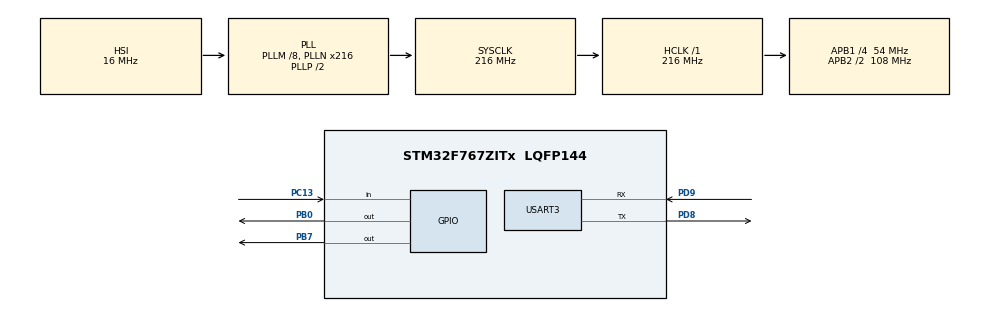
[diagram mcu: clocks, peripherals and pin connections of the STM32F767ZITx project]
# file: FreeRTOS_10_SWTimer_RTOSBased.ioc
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FREERTOS.INCLUDE_vTaskDelayUntil=1
FREERTOS.Tasks01=normalTask_uart,0,128,start_normalTask_uart,Default,NULL,Dynamic,NULL,NULL;normalTask_led,0,128,start_normalTask_led,Default,NULL,Dynamic,NULL,NULL
FREERTOS.Timers01=periodicTimer,callback_periodicTimer,osTimerPeriodic,Default,NULL,Dynamic,NULL;onceTimer,callback_onceTimer,osTimerOnce,Default,NULL,Dynamic,NULL
FREERTOS.configTIMER_TASK_PRIORITY=6
FREERTOS.configUSE_COUNTING_SEMAPHORES=0
FREERTOS.configUSE_NEWLIB_REENTRANT=1
FREERTOS.configUSE_TIMERS=1
Mcu.Family=STM32F7
Mcu.Name=STM32F767ZITx
Mcu.Package=LQFP144
NVIC.PriorityGroup=NVIC_PRIORITYGROUP_4
NVIC.TIM6_DAC_IRQn=true\:15\:0\:false\:false\:true\:false\:false\:true\:true
NVIC.TimeBase=TIM6_DAC_IRQn
NVIC.TimeBaseIP=TIM6
NVIC.USART3_IRQn=true\:5\:0\:false\:false\:true\:true\:true\:true\:true
PA13.Mode=Serial_Wire
PA13.Signal=SYS_JTMS-SWDIO
PA14.Mode=Serial_Wire
PA14.Signal=SYS_JTCK-SWCLK
PB0.Signal=GPIO_Output
PB7.Signal=GPIO_Output
PC13.Signal=GPIO_Input
PD8.Mode=Asynchronous
PD8.Signal=USART3_TX
PD9.Mode=Asynchronous
PD9.Signal=USART3_RX
ProjectManager.HeapSize=0x200
ProjectManager.StackSize=0x400
ProjectManager.TargetToolchain=CMake
RCC.AHBFreq_Value=216000000
RCC.APB1CLKDivider=RCC_HCLK_DIV4
RCC.APB1Freq_Value=54000000
RCC.APB1TimFreq_Value=108000000
RCC.APB2CLKDivider=RCC_HCLK_DIV2
RCC.APB2Freq_Value=108000000
RCC.APB2TimFreq_Value=216000000
RCC.CortexFreq_Value=216000000
RCC.HCLKFreq_Value=216000000
RCC.HSE_VALUE=8000000
RCC.HSI_VALUE=16000000
RCC.LSE_VALUE=32768
RCC.PLLM=8
RCC.PLLN=216
RCC.SYSCLKFreq_VALUE=216000000
RCC.SYSCLKSource=RCC_SYSCLKSOURCE_PLLCLK
RCC.USBFreq_Value=216000000
RCC.VCOOutputFreq_Value=432000000
USART3.VirtualMode-Asynchronous=VM_ASYNC
VP_FREERTOS_VS_CMSIS_V1.Mode=CMSIS_V1
VP_SYS_VS_tim6.Mode=TIM6
board=custom

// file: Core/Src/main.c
/* USER CODE BEGIN Header */
/**
  ******************************************************************************
  * @file           : main.c
  * @brief          : Main program body
  ******************************************************************************
  * @author			: Jabed-Akhtar (GitHub)
  * @date			: 11.10.2022
  ******************************************************************************
  * Description:
  * 	- a source within this script: https://youtube.com/playlist?list=PLfIJKC1ud8gj1t2y36sabPT4YcKzmN_5D
  * 	- Related doc/file can be found at location: Same as FreeRTOS_9_SWTimer_CMSISBased Project
  *
  *
  * @attention
  * Very imp note:
  * 	- comment out #include "cmsis_os.h" , as it is not used
  * 	- comment or remote by-default created task related stuffs
  *
  ******************************************************************************
  */
/* USER CODE END Header */
#include "main.h"
//#include "cmsis_os.h"

/* USER CODE BEGIN Includes */

#include "FreeRTOS.h"
#include "task.h"
#include "timers.h"
#include "queue.h"
#include "semphr.h"
#include "event_groups.h"

#include <stdio.h>
#include "stdlib.h"
#include <string.h>

/* USER CODE END Includes */

UART_HandleTypeDef huart3;

//osThreadId normalTask_uartHandle;
//osThreadId normalTask_ledHandle;
//osTimerId periodicTimerHandle;
//osTimerId onceTimerHandle;
/* USER CODE BEGIN PV */

// Create timer handles
xTimerHandle PTHandle; // Periodic timer Handler
xTimerHandle OTHandle; // One-time timer Handler

// Create task handles
xTaskHandle uartTaskHandle;
xTaskHandle ledTaskHandle;

/* USER CODE END PV */

void SystemClock_Config(void);
static void MX_GPIO_Init(void);
static void MX_USART3_UART_Init(void);
//void start_normalTask_uart(void const * argument);
//void start_normalTask_led(void const * argument);
//void callback_periodicTimer(void const * argument);
//void callback_onceTimer(void const * argument);

/* USER CODE BEGIN PFP */

// Task functions
void uartTask(void *argument);
void ledTask(void *argument);
void TimerCallback(xTimerHandle xTimer);

/* USER CODE END PFP */

int main(void)
{

  /* MCU Configuration--------------------------------------------------------*/

  /* Reset of all peripherals, Initializes the Flash interface and the Systick. */
  HAL_Init();

  /* Configure the system clock */
  SystemClock_Config();

  /* Initialize all configured peripherals */
  MX_GPIO_Init();
  MX_USART3_UART_Init();
  /* USER CODE BEGIN 2 */

  // sending data through USART at the beginning of Programm
  char stri[] = "\n---------- Programm started!!! ----------\n\n\r";
  HAL_UART_Transmit(&huart3, (uint8_t*)stri, strlen(stri), HAL_MAX_DELAY); //HAL_MAX_DELAY -> 0xFFFFFFFFU

  // create timers
  PTHandle = xTimerCreate("timer1", pdMS_TO_TICKS(1000), pdTRUE, (void *) 1, TimerCallback);
  OTHandle = xTimerCreate("timer2", pdMS_TO_TICKS(4000), pdFALSE, (void *) 2, TimerCallback);

  // Create tasks
  xTaskCreate(uartTask, "uartTask", 128, NULL, 1, &uartTaskHandle);
  xTaskCreate(ledTask, "ledTask", 128, NULL, 1, &ledTaskHandle);

  // Start the Schedular
  vTaskStartScheduler();
  /* USER CODE END 2 */

  /* Create the timer(s) */
  /* definition and creation of periodicTimer */
//  osTimerDef(periodicTimer, callback_periodicTimer);
//  periodicTimerHandle = osTimerCreate(osTimer(periodicTimer), osTimerPeriodic, NULL);

  /* definition and creation of onceTimer */
//  osTimerDef(onceTimer, callback_onceTimer);
//  onceTimerHandle = osTimerCreate(osTimer(onceTimer), osTimerOnce, NULL);

  /* Create the thread(s) */
  /* definition and creation of normalTask_uart */
//  osThreadDef(normalTask_uart, start_normalTask_uart, osPriorityNormal, 0, 128);
//  normalTask_uartHandle = osThreadCreate(osThread(normalTask_uart), NULL);

  /* definition and creation of normalTask_led */
//  osThreadDef(normalTask_led, start_normalTask_led, osPriorityNormal, 0, 128);
//  normalTask_ledHandle = osThreadCreate(osThread(normalTask_led), NULL);

  /* Start scheduler */
//  osKernelStart();

  /* We should never get here as control is now taken by the scheduler */

  /* Infinite loop */
  while (1)
  {

  }
}

void SystemClock_Config(void)
{
  RCC_OscInitTypeDef RCC_OscInitStruct = {0};
  RCC_ClkInitTypeDef RCC_ClkInitStruct = {0};

  /** Configure the main internal regulator output voltage
  */
  __HAL_RCC_PWR_CLK_ENABLE();
  __HAL_PWR_VOLTAGESCALING_CONFIG(PWR_REGULATOR_VOLTAGE_SCALE1);

  /** Initializes the RCC Oscillators according to the specified parameters
  * in the RCC_OscInitTypeDef structure.
  */
  RCC_OscInitStruct.OscillatorType = RCC_OSCILLATORTYPE_HSI;
  RCC_OscInitStruct.HSIState = RCC_HSI_ON;
  RCC_OscInitStruct.HSICalibrationValue = RCC_HSICALIBRATION_DEFAULT;
  RCC_OscInitStruct.PLL.PLLState = RCC_PLL_ON;
  RCC_OscInitStruct.PLL.PLLSource = RCC_PLLSOURCE_HSI;
  RCC_OscInitStruct.PLL.PLLM = 8;
  RCC_OscInitStruct.PLL.PLLN = 216;
  RCC_OscInitStruct.PLL.PLLP = RCC_PLLP_DIV2;
  RCC_OscInitStruct.PLL.PLLQ = 2;
  RCC_OscInitStruct.PLL.PLLR = 2;
  if (HAL_RCC_OscConfig(&RCC_OscInitStruct) != HAL_OK)
  {
    Error_Handler();
  }

  /** Activate the Over-Drive mode
  */
  if (HAL_PWREx_EnableOverDrive() != HAL_OK)
  {
    Error_Handler();
  }

  /** Initializes the CPU, AHB and APB buses clocks
  */
  RCC_ClkInitStruct.ClockType = RCC_CLOCKTYPE_HCLK|RCC_CLOCKTYPE_SYSCLK
                              |RCC_CLOCKTYPE_PCLK1|RCC_CLOCKTYPE_PCLK2;
  RCC_ClkInitStruct.SYSCLKSource = RCC_SYSCLKSOURCE_PLLCLK;
  RCC_ClkInitStruct.AHBCLKDivider = RCC_SYSCLK_DIV1;
  RCC_ClkInitStruct.APB1CLKDivider = RCC_HCLK_DIV4;
  RCC_ClkInitStruct.APB2CLKDivider = RCC_HCLK_DIV2;

  if (HAL_RCC_ClockConfig(&RCC_ClkInitStruct, FLASH_LATENCY_7) != HAL_OK)
  {
    Error_Handler();
  }
}

static void MX_USART3_UART_Init(void)
{

  huart3.Instance = USART3;
  huart3.Init.BaudRate = 115200;
  huart3.Init.WordLength = UART_WORDLENGTH_8B;
  huart3.Init.StopBits = UART_STOPBITS_1;
  huart3.Init.Parity = UART_PARITY_NONE;
  huart3.Init.Mode = UART_MODE_TX_RX;
  huart3.Init.HwFlowCtl = UART_HWCONTROL_NONE;
  huart3.Init.OverSampling = UART_OVERSAMPLING_16;
  huart3.Init.OneBitSampling = UART_ONE_BIT_SAMPLE_DISABLE;
  huart3.AdvancedInit.AdvFeatureInit = UART_ADVFEATURE_NO_INIT;
  if (HAL_UART_Init(&huart3) != HAL_OK)
  {
    Error_Handler();
  }

}

static void MX_GPIO_Init(void)
{
  GPIO_InitTypeDef GPIO_InitStruct = {0};

  /* GPIO Ports Clock Enable */
  __HAL_RCC_GPIOC_CLK_ENABLE();
  __HAL_RCC_GPIOB_CLK_ENABLE();
  __HAL_RCC_GPIOD_CLK_ENABLE();
  __HAL_RCC_GPIOA_CLK_ENABLE();

  /*Configure GPIO pin Output Level */
  HAL_GPIO_WritePin(GPIOB, GPIO_PIN_0|GPIO_PIN_7, GPIO_PIN_RESET);

  /*Configure GPIO pin : PC13 */
  GPIO_InitStruct.Pin = GPIO_PIN_13;
  GPIO_InitStruct.Mode = GPIO_MODE_INPUT;
  GPIO_InitStruct.Pull = GPIO_NOPULL;
  HAL_GPIO_Init(GPIOC, &GPIO_InitStruct);

  /*Configure GPIO pins : PB0 PB7 */
  GPIO_InitStruct.Pin = GPIO_PIN_0|GPIO_PIN_7;
  GPIO_InitStruct.Mode = GPIO_MODE_OUTPUT_PP;
  GPIO_InitStruct.Pull = GPIO_NOPULL;
  GPIO_InitStruct.Speed = GPIO_SPEED_FREQ_LOW;
  HAL_GPIO_Init(GPIOB, &GPIO_InitStruct);

}

/* USER CODE BEGIN 4 */

// UART Task
void uartTask(void *argument)
{
	xTimerStart(PTHandle, 0); // 0 -> start timer immediately
	while(1)
	{
		HAL_UART_Transmit(&huart3, (void *)"\nSending from UART Task.\n", 25, 100);
		vTaskDelay(pdMS_TO_TICKS(2000));
	}
}

// LED Task
void ledTask(void *argument)
{
	while(1)
	{
		if(HAL_GPIO_ReadPin(GPIOC, GPIO_PIN_13)) // when button is pressed
		{
			HAL_GPIO_WritePin(GPIOB, GPIO_PIN_0, 1);
			xTimerStart(OTHandle, 0); // 0 -> start timer immediately
		}
		vTaskDelay(pdMS_TO_TICKS(20));
	}
}

// Common callback function for timers
void TimerCallback(xTimerHandle xTimer)
{
	if(xTimer == PTHandle)
	{
		HAL_UART_Transmit(&huart3, (void *)"\nSending from TIMER Callback.\n", 25, 100);
	}
	else if (xTimer == OTHandle)
	{
		HAL_GPIO_WritePin(GPIOB, GPIO_PIN_0, 0);
	}
}

/* USER CODE END 4 */

void start_normalTask_uart(void const * argument)
{
  /* USER CODE BEGIN 5 */
//
//  osTimerStart(periodicTimerHandle, 1000); // 1000 ms
//  /* Infinite loop */
//  for(;;)
//  {
//	  HAL_UART_Transmit(&huart3, (uint8_t *)"Sending from UART Task.\n", 23, 100);
//      osDelay(2000);
//  }
  /* USER CODE END 5 */
}

void start_normalTask_led(void const * argument)
{
  /* USER CODE BEGIN start_normalTask_led */
//  /* Infinite loop */
//  for(;;)
//  {
//	  if (HAL_GPIO_ReadPin(GPIOC, GPIO_PIN_13)) // if the button is pressed
//	  {
//		  HAL_GPIO_WritePin(GPIOB, GPIO_PIN_0, 1); // set the LED
//		  osTimerStart(onceTimerHandle, 4000);
//	  }
//
//      osDelay(20);
//  }
  /* USER CODE END start_normalTask_led */
}

/* callback_periodicTimer function */
void callback_periodicTimer(void const * argument)
{
  /* USER CODE BEGIN callback_periodicTimer */
//
//	HAL_UART_Transmit(&huart3, (uint8_t *)"\nSending from PERIODIC Timer.\n", 30, 100);
//
  /* USER CODE END callback_periodicTimer */
}

/* callback_onceTimer function */
void callback_onceTimer(void const * argument)
{
  /* USER CODE BEGIN callback_onceTimer */
//
//	HAL_GPIO_WritePin(GPIOB, GPIO_PIN_0, 0); // Reset the LED
//
  /* USER CODE END callback_onceTimer */
}

void HAL_TIM_PeriodElapsedCallback(TIM_HandleTypeDef *htim)
{
  if (htim->Instance == TIM6) {
    HAL_IncTick();
  }
}

void Error_Handler(void)
{
  __disable_irq();
  while (1)
  {
  }
}
